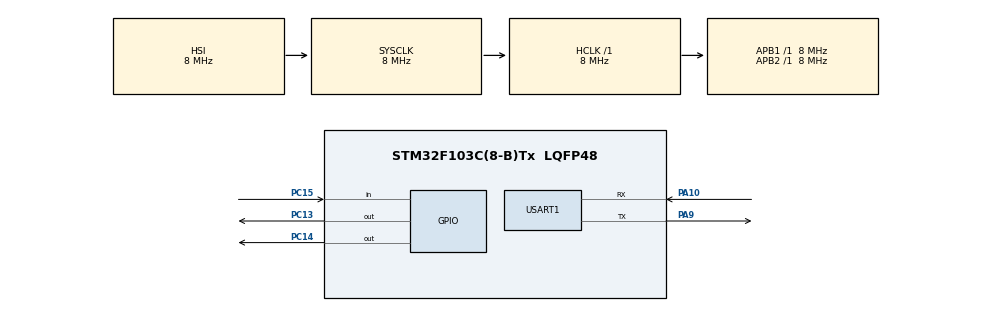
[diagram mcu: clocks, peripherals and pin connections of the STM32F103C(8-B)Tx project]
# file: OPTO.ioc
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Mcu.Family=STM32F1
Mcu.Name=STM32F103C(8-B)Tx
Mcu.Package=LQFP48
NVIC.PriorityGroup=NVIC_PRIORITYGROUP_4
NVIC.USART1_IRQn=true\:0\:0\:false\:false\:true\:true\:true\:true
PA10.Mode=Asynchronous
PA10.Signal=USART1_RX
PA13.Mode=Serial_Wire
PA13.Signal=SYS_JTMS-SWDIO
PA14.Mode=Serial_Wire
PA14.Signal=SYS_JTCK-SWCLK
PA9.Mode=Asynchronous
PA9.Signal=USART1_TX
PC13-TAMPER-RTC.Signal=GPIO_Output
PC14-OSC32_IN.Signal=GPIO_Output
PC15-OSC32_OUT.GPIO_PuPd=GPIO_PULLDOWN
PC15-OSC32_OUT.Signal=GPIO_Input
PD0-OSC_IN.Mode=HSE-External-Oscillator
PD0-OSC_IN.Signal=RCC_OSC_IN
PD1-OSC_OUT.Mode=HSE-External-Oscillator
PD1-OSC_OUT.Signal=RCC_OSC_OUT
ProjectManager.HeapSize=0x200
ProjectManager.StackSize=0x400
ProjectManager.TargetToolchain=MDK-ARM V5
RCC.AHBFreq_Value=8000000
RCC.APB1Freq_Value=8000000
RCC.APB1TimFreq_Value=8000000
RCC.APB2Freq_Value=8000000
RCC.APB2TimFreq_Value=8000000
RCC.HCLKFreq_Value=8000000
RCC.SYSCLKFreq_VALUE=8000000
RCC.USBFreq_Value=8000000
USART1.VirtualMode=VM_ASYNC
board=custom

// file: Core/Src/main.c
/* USER CODE BEGIN Header */
/**
  ******************************************************************************
  * @file           : main.c
  * @brief          : Main program body
  ******************************************************************************
  * @attention
  *
  * Copyright (c) 2025 STMicroelectronics.
  * All rights reserved.
  *
  * This software is licensed under terms that can be found in the LICENSE file
  * in the root directory of this software component.
  * If no LICENSE file comes with this software, it is provided AS-IS.
  *
  ******************************************************************************
  */
/* USER CODE END Header */
#include "main.h"

UART_HandleTypeDef huart1;

void SystemClock_Config(void);
static void MX_GPIO_Init(void);
static void MX_USART1_UART_Init(void);
/* USER CODE BEGIN PFP */
#include <string.h>
#include <stdio.h>

int Opto_Digital_Input, Opto_RX_Flag;
uint8_t Opto_RX_Buffer [11], Char_Opto_TX_Buffer [13];
char *Char_Opto_RX_Buffer;

/* USER CODE END PFP */

/* USER CODE BEGIN 0 */
void HAL_UARTEx_RxEventCallback (UART_HandleTypeDef *huart, uint16_t Size)
{
	if (huart->Instance == USART1)
	{
		if (strncmp(Char_Opto_RX_Buffer , "0008FFFF011", sizeof(Opto_RX_Buffer)) == 0)
		{
			Opto_RX_Flag = 1;
		}
	}

	HAL_UART_Receive_IT (&huart1, (uint8_t *)Opto_RX_Buffer, sizeof(Opto_RX_Buffer));
}

/* USER CODE END 0 */

int main(void)
{

  /* MCU Configuration--------------------------------------------------------*/

  /* Reset of all peripherals, Initializes the Flash interface and the Systick. */
  HAL_Init();

  /* Configure the system clock */
  SystemClock_Config();

  /* Initialize all configured peripherals */
  MX_GPIO_Init();
  MX_USART1_UART_Init();
  /* USER CODE BEGIN 2 */
	HAL_UART_Receive_IT (&huart1, (uint8_t *)Opto_RX_Buffer, sizeof(Opto_RX_Buffer));

  /* USER CODE END 2 */

  /* Infinite loop */
  /* USER CODE BEGIN WHILE */
  while (1)
  {
		Char_Opto_RX_Buffer = (char*)Opto_RX_Buffer;

		HAL_UART_Receive_IT (&huart1, (uint8_t *)Opto_RX_Buffer, sizeof(Opto_RX_Buffer));

		//=======================DI=======================//
		Opto_RX_Flag = 0;

		if (HAL_GPIO_ReadPin (GPIOC, GPIO_PIN_15) == 1)
		{
			strcpy((char *)Char_Opto_TX_Buffer, "00080001011\r\n");
			HAL_UART_Transmit(&huart1, Char_Opto_TX_Buffer, strlen((char *)Char_Opto_TX_Buffer), HAL_MAX_DELAY);

			HAL_Delay(500);
		}
		else if (HAL_GPIO_ReadPin (GPIOC, GPIO_PIN_15) == 0)
		{
			strcpy((char *)Char_Opto_TX_Buffer, "00080000011\r\n");
			HAL_UART_Transmit(&huart1, Char_Opto_TX_Buffer, strlen((char *)Char_Opto_TX_Buffer), HAL_MAX_DELAY);

			HAL_Delay(500);
		}

		//=======================DO======================//
		if (strncmp(Char_Opto_RX_Buffer, "00080011011", sizeof(Opto_RX_Buffer)) == 0)
		{
			HAL_GPIO_WritePin (GPIOC, GPIO_PIN_14, 1);
		}
		else if (strncmp(Char_Opto_RX_Buffer, "00080010011", sizeof(Opto_RX_Buffer)) == 0)
		{
			HAL_GPIO_WritePin (GPIOC, GPIO_PIN_14, 0);
		}
    /* USER CODE END WHILE */

  }
}

void SystemClock_Config(void)
{
  RCC_OscInitTypeDef RCC_OscInitStruct = {0};
  RCC_ClkInitTypeDef RCC_ClkInitStruct = {0};

  /** Initializes the RCC Oscillators according to the specified parameters
  * in the RCC_OscInitTypeDef structure.
  */
  RCC_OscInitStruct.OscillatorType = RCC_OSCILLATORTYPE_HSI;
  RCC_OscInitStruct.HSIState = RCC_HSI_ON;
  RCC_OscInitStruct.HSICalibrationValue = RCC_HSICALIBRATION_DEFAULT;
  RCC_OscInitStruct.PLL.PLLState = RCC_PLL_NONE;
  if (HAL_RCC_OscConfig(&RCC_OscInitStruct) != HAL_OK)
  {
    Error_Handler();
  }

  /** Initializes the CPU, AHB and APB buses clocks
  */
  RCC_ClkInitStruct.ClockType = RCC_CLOCKTYPE_HCLK|RCC_CLOCKTYPE_SYSCLK
                              |RCC_CLOCKTYPE_PCLK1|RCC_CLOCKTYPE_PCLK2;
  RCC_ClkInitStruct.SYSCLKSource = RCC_SYSCLKSOURCE_HSI;
  RCC_ClkInitStruct.AHBCLKDivider = RCC_SYSCLK_DIV1;
  RCC_ClkInitStruct.APB1CLKDivider = RCC_HCLK_DIV1;
  RCC_ClkInitStruct.APB2CLKDivider = RCC_HCLK_DIV1;

  if (HAL_RCC_ClockConfig(&RCC_ClkInitStruct, FLASH_LATENCY_0) != HAL_OK)
  {
    Error_Handler();
  }
}

static void MX_USART1_UART_Init(void)
{

  huart1.Instance = USART1;
  huart1.Init.BaudRate = 115200;
  huart1.Init.WordLength = UART_WORDLENGTH_8B;
  huart1.Init.StopBits = UART_STOPBITS_1;
  huart1.Init.Parity = UART_PARITY_NONE;
  huart1.Init.Mode = UART_MODE_TX_RX;
  huart1.Init.HwFlowCtl = UART_HWCONTROL_NONE;
  huart1.Init.OverSampling = UART_OVERSAMPLING_16;
  if (HAL_UART_Init(&huart1) != HAL_OK)
  {
    Error_Handler();
  }

}

static void MX_GPIO_Init(void)
{
  GPIO_InitTypeDef GPIO_InitStruct = {0};

  /* GPIO Ports Clock Enable */
  __HAL_RCC_GPIOC_CLK_ENABLE();
  __HAL_RCC_GPIOD_CLK_ENABLE();
  __HAL_RCC_GPIOA_CLK_ENABLE();

  /*Configure GPIO pin Output Level */
  HAL_GPIO_WritePin(GPIOC, GPIO_PIN_13|GPIO_PIN_14, GPIO_PIN_RESET);

  /*Configure GPIO pins : PC13 PC14 */
  GPIO_InitStruct.Pin = GPIO_PIN_13|GPIO_PIN_14;
  GPIO_InitStruct.Mode = GPIO_MODE_OUTPUT_PP;
  GPIO_InitStruct.Pull = GPIO_NOPULL;
  GPIO_InitStruct.Speed = GPIO_SPEED_FREQ_LOW;
  HAL_GPIO_Init(GPIOC, &GPIO_InitStruct);

  /*Configure GPIO pin : PC15 */
  GPIO_InitStruct.Pin = GPIO_PIN_15;
  GPIO_InitStruct.Mode = GPIO_MODE_INPUT;
  GPIO_InitStruct.Pull = GPIO_PULLDOWN;
  HAL_GPIO_Init(GPIOC, &GPIO_InitStruct);

}

void Error_Handler(void)
{
  __disable_irq();
  while (1)
  {
  }
}
